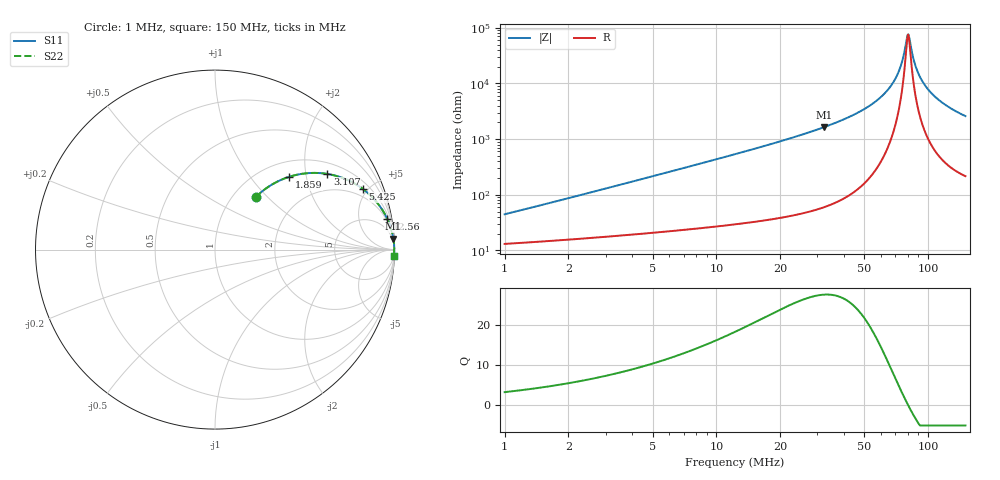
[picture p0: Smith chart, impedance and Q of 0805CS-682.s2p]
# MHz S MA R 50
!Freq  MagS11  AngS11  MagS21  AngS21  MagS12  AngS12  MagS22  AngS22
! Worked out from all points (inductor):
!   801 points, 1 MHz to 150 MHz, reference 50 ohm
!   read as one part in series: L = 6.8 uH near 1.025 MHz
!   highest Q = 27.4 at 32.33 MHz (marker M1), where L = 8.11 uH
!   self-resonance near 80.18 MHz
!   S11 on the Smith chart (normalised r, x): 1 MHz: 1.26, +0.85; 1.859 MHz: 1.31, +1.59; 3.107 MHz: 1.36, +2.66; 5.425 MHz: 1.43, +4.66; 12.56 MHz: 2, +11; 150 MHz: 5, -52
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1  0.3697 52.3  0.8271 -20.7  0.8271 -20.7  0.3697 52.3
1.859051  0.5779 44.5  0.714 -34.6  0.714 -34.6  0.5779 44.5
3.106996  0.7552 33.9  0.563 -48.5  0.563 -48.5  0.7552 33.9
5.425388  0.8905 22.3  0.3808 -62.5  0.3808 -62.5  0.8905 22.3
8.202728  0.9454 15.4  0.2663 -70.6  0.2663 -70.6  0.9454 15.4
12.55816  0.9747 10.2  0.177 -76.7  0.177 -76.7  0.9747 10.2
25.96924  0.9937 4.6  0.0802 -83.2  0.0802 -83.2  0.9937 4.6
32.33429  0.996 3.5  0.06044 -84.5  0.06044 -84.5  0.996 3.5
50.75882  0.9983 1.6  0.02774 -85.7  0.02774 -85.7  0.9983 1.6
66.86465  0.9987 0.6  0.0109 -83.1  0.0109 -83.1  0.9987 0.6
72.08384  0.9988 0.4  0.006542 -78.8  0.006542 -78.8  0.9988 0.4
75.78772  0.9987 0.2  0.003726 -70.1  0.003726 -70.1  0.9987 0.2
79.1844  0.9987 0.1  0.001611 -36.7  0.001611 -36.7  0.9987 0.1
80.68633  0.9987 -0.0  0.001314 5.5  0.001314 5.5  0.9987 -0.0
82.21675  0.9987 -0.1  0.0018 42.4  0.0018 42.4  0.9987 -0.1
86.44129  0.9986 -0.2  0.004351 71.1  0.004351 71.1  0.9986 -0.2
89.19116  0.9985 -0.3  0.006115 76.1  0.006115 76.1  0.9985 -0.3
94.36323  0.9984 -0.5  0.009364 80.1  0.009364 80.1  0.9984 -0.5
100.4625  0.9983 -0.7  0.01304 82.0  0.01304 82.0  0.9983 -0.7
111.7496  0.9979 -1.1  0.01942 83.2  0.01942 83.2  0.9979 -1.1
125.8717  0.9973 -1.5  0.02681 83.5  0.02681 83.5  0.9973 -1.5
150  0.9961 -2.2  0.0384 83.0  0.0384 83.0  0.9961 -2.2
